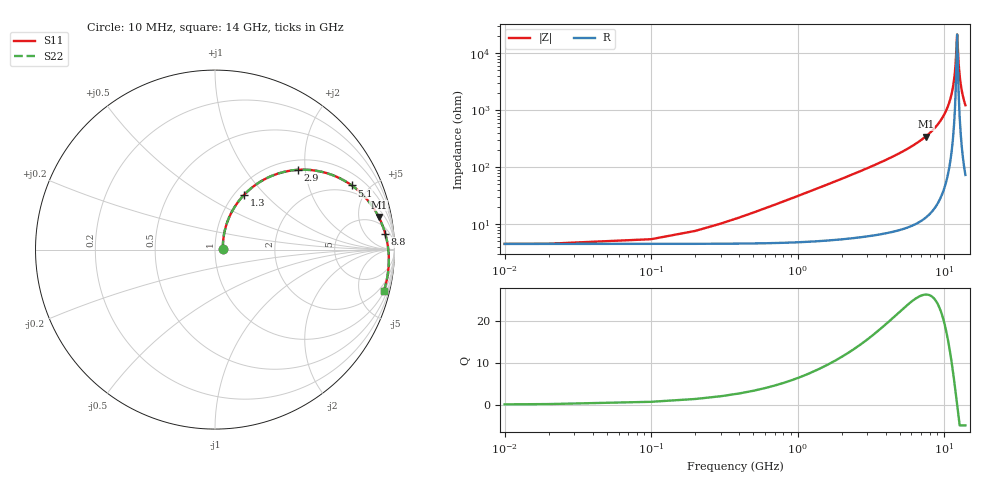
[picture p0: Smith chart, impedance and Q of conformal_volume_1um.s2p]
! Created with skrf 1.12.0 (http://scikit-rf.org).
# GHz S DB R 50.0
!freq dBS11 angS11 dBS21 angS21 dBS12 angS12 dBS22 angS22
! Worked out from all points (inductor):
!   142 points, 10 MHz to 14 GHz, reference 50 ohm
!   read as one part in series: L = 4.87 nH near 500 MHz
!   highest Q = 26.4 at 7.5 GHz (marker M1), where L = 7.3 nH
!   self-resonance near 12.2 GHz
!   S11 on the Smith chart (normalised r, x): 10 MHz: 1.09, +0.01; 1.3 GHz: 1.11, +0.77; 2.9 GHz: 1.21, +1.83; 5.1 GHz: 1.58, +3.87; 8.8 GHz: 9, +17; 14 GHz: 1.10, -8.19
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0.01  -27.28 3.4  -0.38 -0.2  -0.38 -0.2  -27.28 3.4
0.4  -18.58 62.6  -0.47 -7.1  -0.47 -7.1  -18.59 62.6
0.6  -15.38 66.1  -0.56 -10.5  -0.56 -10.5  -15.38 66.1
0.9  -12.09 65.6  -0.73 -15.5  -0.73 -15.5  -12.09 65.6
1.3  -9.19 62.0  -1.06 -21.8  -1.06 -21.8  -9.19 62.0
2.4  -4.94 49.2  -2.31 -37.0  -2.31 -37.0  -4.94 49.2
2.9  -3.85 43.9  -3.01 -42.9  -3.01 -42.9  -3.86 43.9
4.7  -1.76 28.0  -5.87 -59.6  -5.87 -59.6  -1.76 28.0
5.1  -1.50 25.2  -6.57 -62.6  -6.57 -62.6  -1.50 25.2
7.1  -0.72 13.3  -10.40 -74.7  -10.40 -74.7  -0.72 13.3
7.5  -0.63 11.3  -11.28 -76.7  -11.28 -76.7  -0.63 11.3
8.8  -0.42 5.3  -14.53 -82.4  -14.53 -82.4  -0.42 5.3
9.4  -0.36 2.8  -16.38 -84.7  -16.38 -84.7  -0.36 2.8
10.8  -0.27 -2.6  -22.53 -88.6  -22.53 -88.6  -0.27 -2.6
11.3  -0.25 -4.5  -26.18 -88.7  -26.18 -88.7  -0.25 -4.5
11.7  -0.25 -5.9  -30.67 -86.5  -30.67 -86.5  -0.25 -5.9
12  -0.24 -6.9  -36.52 -78.8  -36.52 -78.8  -0.24 -6.9
12.3  -0.24 -8.0  -46.80 -4.6  -46.80 -4.6  -0.24 -8.0
12.6  -0.24 -9.0  -36.38 63.8  -36.38 63.8  -0.25 -9.0
12.9  -0.25 -10.0  -30.79 71.1  -30.79 71.1  -0.25 -10.0
13.4  -0.26 -11.7  -25.73 73.4  -25.73 73.4  -0.26 -11.7
14  -0.28 -13.7  -22.10 73.1  -22.10 73.1  -0.28 -13.7
